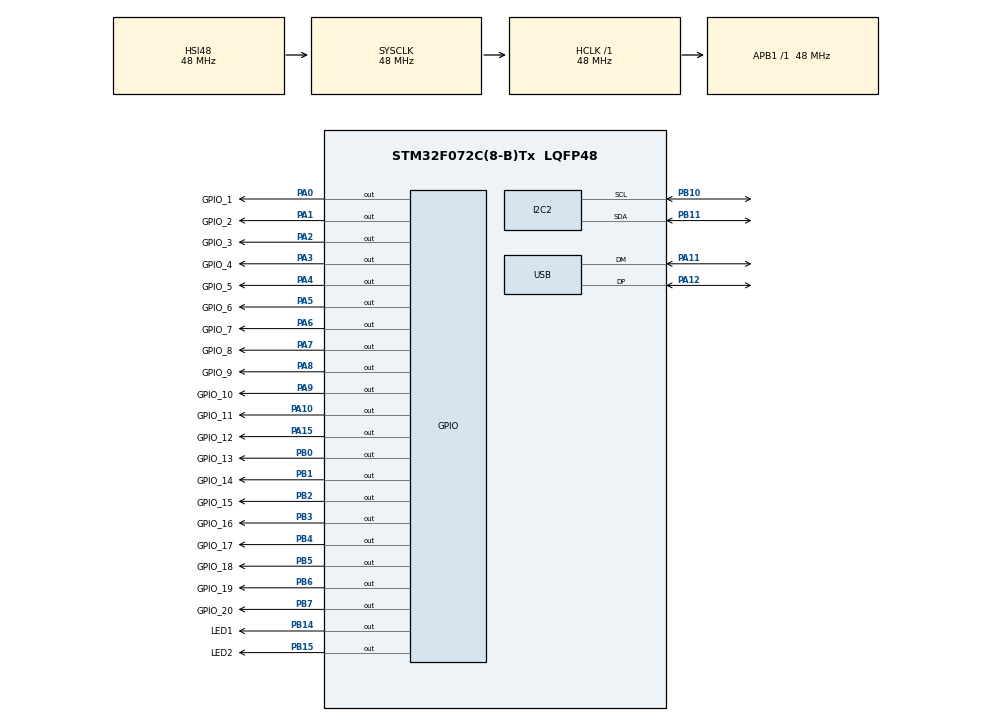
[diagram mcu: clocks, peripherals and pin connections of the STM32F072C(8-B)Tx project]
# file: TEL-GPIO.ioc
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Mcu.Family=STM32F0
PA2.GPIO_PuPd=GPIO_NOPULL
USB_DEVICE.CLASS_NAME_FS=CDC
NVIC.USB_IRQn=true\:0\:0\:false\:false\:true\:false\:true
PB10.Mode=I2C
PB14.GPIO_Label=LED1
PA3.GPIO_PuPd=GPIO_NOPULL
I2C2.Timing=0x20303E5D
PA0.PinState=GPIO_PIN_RESET
PA0.GPIO_Label=GPIO_1
PA2.GPIO_Speed=GPIO_SPEED_FREQ_HIGH
PA11.Mode=Device
PA6.GPIO_Label=GPIO_7
PB0.GPIO_Label=GPIO_13
PB6.GPIO_Label=GPIO_19
PA3.GPIO_Speed=GPIO_SPEED_FREQ_HIGH
PB11.Signal=I2C2_SDA
PB15.Signal=GPIO_Output
RCC.SYSCLKSource=RCC_SYSCLKSOURCE_HSI48
ProjectManager.StackSize=0x400
USB_DEVICE.MANUFACTURER_STRING=COMPULAB LTD
PA15.GPIO_Label=GPIO_12
PA12.Signal=USB_DP
USB_DEVICE.USBD_MAX_NUM_INTERFACES=2
RCC.HCLKFreq_Value=48000000
PB6.Signal=GPIO_Output
PA1.GPIO_PuPd=GPIO_NOPULL
RCC.AHBFreq_Value=48000000
RCC.HSE_VALUE=16000000
PB2.Signal=GPIO_Output
PA2.PinState=GPIO_PIN_RESET
PB1.GPIO_Label=GPIO_14
PA10.GPIO_Label=GPIO_11
PB7.Signal=GPIO_Output
PA8.Signal=GPIO_Output
PA0.Signal=GPIO_Output
PB7.GPIO_Label=GPIO_20
Mcu.Package=LQFP48
PB14.GPIO_PuPd=GPIO_PULLDOWN
PB1.Signal=GPIO_Output
PA6.Signal=GPIO_Output
PB15.GPIO_PuPd=GPIO_PULLDOWN
PB6.GPIO_FM6=__NULL
PA2.GPIO_Label=GPIO_3
PA10.Signal=GPIO_Output
PA15.Signal=GPIO_Output
PA1.PinState=GPIO_PIN_RESET
PB5.GPIO_Label=GPIO_18
RCC.APB1TimFreq_Value=48000000
PA4.GPIO_Label=GPIO_5
PB4.Signal=GPIO_Output
PA3.Signal=GPIO_Output
PB3.GPIO_Label=GPIO_16
RCC.PLLSourceVirtual=RCC_PLLSOURCE_HSI48
USB_DEVICE.VirtualModeFS=Cdc_FS
PA9.GPIO_Label=GPIO_10
PA8.GPIO_Label=GPIO_9
PB11.Mode=I2C
ProjectManager.TargetToolchain=STM32CubeIDE
USB_DEVICE.PRODUCT_STRING_CDC_FS=TEL-GPIO
VP_USB_DEVICE_VS_USB_DEVICE_CDC_FS.Mode=CDC_FS
PA9.Signal=GPIO_Output
RCC.PLLDivider=RCC_PREDIV_DIV2
PA1.Signal=GPIO_Output
PB10.Signal=I2C2_SCL
PB14.Signal=GPIO_Output
PA5.Signal=GPIO_Output
board=custom
PB4.GPIO_Label=GPIO_17
PB15.GPIO_Label=LED2
PA1.GPIO_Speed=GPIO_SPEED_FREQ_HIGH
PA1.GPIO_Label=GPIO_2
Mcu.Name=STM32F072C(8-B)Tx
PA2.Signal=GPIO_Output
PB3.Signal=GPIO_Output
PA4.Signal=GPIO_Output
RCC.SYSCLKFreq_VALUE=48000000
PB5.Signal=GPIO_Output
PA7.GPIO_Label=GPIO_8
PA12.Mode=Device
PA5.GPIO_Label=GPIO_6
PA11.Signal=USB_DM
PB2.GPIO_Label=GPIO_15
ProjectManager.HeapSize=0x200
PA3.PinState=GPIO_PIN_RESET
RCC.APB1Freq_Value=48000000
PB0.Signal=GPIO_Output
USB_DEVICE.VirtualMode=Cdc
PA3.GPIO_Label=GPIO_4
PA7.Signal=GPIO_Output

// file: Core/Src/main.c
/* USER CODE BEGIN Header */
/**
 ******************************************************************************
 * @file           : main.c
 * @brief          : Main program body
 ******************************************************************************
 * @attention
 *
 * <h2><center>&copy; Copyright (c) 2020 STMicroelectronics.
 * All rights reserved.</center></h2>
 *
 * This software component is licensed by ST under BSD 3-Clause license,
 * the "License"; You may not use this file except in compliance with the
 * License. You may obtain a copy of the License at:
 *                        opensource.org/licenses/BSD-3-Clause
 *
 ******************************************************************************
 */
/* USER CODE END Header */
#include "main.h"
#include "i2c.h"
#include "usb_device.h"
#include "gpio.h"
#include "string.h"
#include "stdio.h"
#include <ctype.h>							// For toupper function
#include "ringbuffer.h"
#include "parser.h"

/* USER CODE BEGIN PD */

// HW & SW Revisions
char HW_REV[] = "HW: V1.0.0\t";
char SW_REV[] = "SW: V1.0.0\t";

char InitialHeader[] = "\t###### TEL-GPIO #######\n";

int GPIO_DIR[MAX_GPIO];

// Store the Global GPIO state of each GPIO in the format:
// 	0 - Input
//	1 - Output
//  3 - Not Connected
int GPIO_STATE[MAX_GPIO];

int GPIO_CONNECTED[MAX_GPIO];

void updateGlobalDir(int);
void setGPIO_state();
void printGlobalState();
void updateGIPO_state(int,int);
//uint8_t get_gpio_level(uint8_t*);
//int getGPIO_state(uint8_t);

int testGPIO(int);

int getGPIO(uint8_t*);
uint8_t get_gpio_level_number(uint8_t);

uint8_t change_gpio_level_number(uint8_t, uint8_t);

#define DEBUGLED

// Write to console function
// will search for new line string and calculate the print size.
void write( char *ptr)
{
	int len = 0;		// Create int for length
	char *pterc = ptr;	// copy pointer so can be counted safely

	// Count the array until reached new line (RETURN)
	for (len = 1 ; *pterc != '\n' ; len++ ) {
		pterc++;
	}

	HAL_Delay(10);
	// Transmit the text
	CDC_Transmit_FS( ptr, len);

}

int io_putchar(int ch)
{
	HAL_Delay(1); // Resolves problems with print
	CDC_Transmit_FS( (uint8_t *)&ch, 1);

	return ch;
}

/* USER CODE END PD */

void SystemClock_Config(void);

int main(void)
{

	/* USER CODE BEGIN 1 */
	// Enable echo to USB serial console
	ECHO_ENABLE = 1;
	// Disable print on GPIO change value state
	gpio_change = 0;
	// initialize the global GPIO state

	setGPIO_state();
	/* USER CODE END 1 */

	SystemInit();
	RingBuffer_Init(&InputBuf);

	/* MCU Configuration--------------------------------------------------------*/

	/* Reset of all peripherals, Initializes the Flash interface and the Systick. */
	HAL_Init();

	/* USER CODE BEGIN Init */
	return_Command = 0;										// Set return command to 0
	memset(gpio_previus_level,0,sizeof(gpio_previus_level));// Initialize gpio previous state array

	/* USER CODE END Init */
	/* Configure the system clock */
	SystemClock_Config();
	/* Initialize all configured peripherals */
	MX_GPIO_Init();
	MX_I2C2_Init();
	MX_USB_DEVICE_Init();
	/* USER CODE BEGIN 2 */
	HAL_Delay(500);								// General delay for pin init
	int funcReturn = 0;

	//	EXTI0_1_IRQHandler_Config();   // TODO fix ISR for GPIO

	detectConnected();

	// Initial screen print
	write(InitialHeader);
	CDC_Transmit_FS(HW_REV, sizeof(HW_REV));
	HAL_Delay(10);
	CDC_Transmit_FS(SW_REV, sizeof(SW_REV));
	HAL_Delay(10);
	char newLine[] = "\n";
	CDC_Transmit_FS(newLine, sizeof(newLine));				// Transmit new line

	// TODO Add EEPROM read function to read GPIO old GPIO values
	// TODO Set Initial GPIO Value (From EEPROM or default?)
	// TODO add array with error codes that will check user input and issue correct error,
	// TODO add some memory location to store all device constants
	// TODO Add Terminal dynamic title change based on GPIO input??
	/* USER CODE END 2 */

	/* Infinite loop */
	/* USER CODE BEGIN WHILE */
	while (1)
	{
		// if enable GPIO change option
		if (gpio_change) {
			detect_gpio_change();
		}

		unsigned char c;
		int cmd;
		for(int i=0; 10 > i; ++i) { // for instead while to prevent deadloop (just in case)
			if (RingBuffer_Read(&InputBuf, &c, 1)){
				cmd = parser_get(c);
				if (cmd)
					break;
			}
			else
				break;
		}

		if(0 >= cmd)
			continue;

		switch (cmd >> 8) // Extract command value
		{
		case COMMAND_PRINT_HELP:					// Help Screen
			printHelp();
			break;
		case COMMAND_SET_HIGH:						// Set High
		case COMMAND_SET_LOW:						// Set Low
		case COMMAND_SET_OUTPUT:					// Set OUTPUT
		case COMMAND_SET_INPUT:						// Set INPUT
			funcReturn = set_gpio(cmd & 0xff, cmd >>8);
			if (funcReturn)
				print_error(funcReturn);
			break;
		case COMMAND_ENABLE_ECHO:					// Enable Echo
			toggleEcho(1);
			break;
		case COMMAND_DISABLE_ECHO:					// Disable echo
			toggleEcho(0);
			break;
		case COMMAND_GET_LEVEL:						// Get Level
		case COMMAND_GET_STATE:						// Get State
			funcReturn = get_gpio(cmd & 0xff, cmd >>8);
			if ((funcReturn == NOT_CONNECTED) | (funcReturn == ERROR_03) ) {
				print_error(funcReturn);
			}
			break;
		case COMMAND_ENABLE_CHANGE:						// Enable print on GPIO level change
			//				write("Enable Print Change\n");
			set_gpio_change(COMMAND_ENABLE_CHANGE);
			//
			break;
		case COMMAND_DISABLE_CHANGE:					// Disable print on GPIO level change
			//				write("Disable Print Change\n");
			set_gpio_change(COMMAND_DISABLE_CHANGE);
			break;
		case COMMAND_ENTER_BOOTLOADER:					// Enter bootoalder command
			dfu_run_bootloader();
//				enter_boot();
			write("Enter boot loader, welcome to the dark side\n");
			break;
		default:									// no command / wrong command
			write("Wrong command entered\n");
			break;
		}
		cmd = 0;

		funcReturn = 0;
	}	// Close main while loop
}	// Close main()

void SystemClock_Config(void)
{
	RCC_OscInitTypeDef RCC_OscInitStruct = {0};
	RCC_ClkInitTypeDef RCC_ClkInitStruct = {0};
	RCC_PeriphCLKInitTypeDef PeriphClkInit = {0};

	/** Initializes the RCC Oscillators according to the specified parameters
	 * in the RCC_OscInitTypeDef structure.
	 */
	RCC_OscInitStruct.OscillatorType = RCC_OSCILLATORTYPE_HSI48;
	RCC_OscInitStruct.HSI48State = RCC_HSI48_ON;
	RCC_OscInitStruct.PLL.PLLState = RCC_PLL_NONE;
	if (HAL_RCC_OscConfig(&RCC_OscInitStruct) != HAL_OK)
	{
		Error_Handler();
	}
	/** Initializes the CPU, AHB and APB buses clocks
	 */
	RCC_ClkInitStruct.ClockType = RCC_CLOCKTYPE_HCLK|RCC_CLOCKTYPE_SYSCLK
			|RCC_CLOCKTYPE_PCLK1;
	RCC_ClkInitStruct.SYSCLKSource = RCC_SYSCLKSOURCE_HSI48;
	RCC_ClkInitStruct.AHBCLKDivider = RCC_SYSCLK_DIV1;
	RCC_ClkInitStruct.APB1CLKDivider = RCC_HCLK_DIV1;

	if (HAL_RCC_ClockConfig(&RCC_ClkInitStruct, FLASH_LATENCY_1) != HAL_OK)
	{
		Error_Handler();
	}
	PeriphClkInit.PeriphClockSelection = RCC_PERIPHCLK_USB;
	PeriphClkInit.UsbClockSelection = RCC_USBCLKSOURCE_HSI48;

	if (HAL_RCCEx_PeriphCLKConfig(&PeriphClkInit) != HAL_OK)
	{
		Error_Handler();
	}
}

void Error_Handler(void)
{
	/* USER CODE BEGIN Error_Handler_Debug */
	/* User can add his own implementation to report the HAL error return state */
#ifdef DEBUGLED
	HAL_GPIO_WritePin(LED1_GPIO_Port, LED1_Pin, 1); // RED LED in case of error, only in debug mode
	HAL_GPIO_WritePin(LED2_GPIO_Port, LED2_Pin, 1);
	char fail[] = "\a\n\r##### FAILURE ######\n\r";
	CDC_Transmit_FS(fail,sizeof(fail));
#endif
	/* USER CODE END Error_Handler_Debug */
}

/**
 * @brief  Print to USB serial Help informarion
 * @param  None
 * @retval None
 */
void printHelp() {
	char printout[] = "\n\n################ HELP #############################\n";
	CDC_Transmit_FS(InitialHeader, sizeof(InitialHeader));
	HAL_Delay(10);
	CDC_Transmit_FS(HW_REV, sizeof(HW_REV));
	HAL_Delay(10);
	CDC_Transmit_FS(SW_REV,sizeof(SW_REV));
	HAL_Delay(10);
	CDC_Transmit_FS(printout,sizeof(printout));
	write("& - Set GPIO As Output Pin: \t\tEXAMPLE: &12 - Set GPIO # 12 To Output \n");
	write("% - Set GPIO As Input Pin:  \t\tEXANPLE: %10 - Will Set GPIO # 10 to Input\n ");
	write("^ - Set GPIO LEVEL HIGH '^##'\t\tEXAMPLE: '^3' - Will Set GPIO # 3 To High Level\n");
	write("_ - Set GPIO LEVEL LOW  '_##'\t\tEXAMPLE: '_06' - Will set GPIO # 6 To Low Level\n");
	write("@ - Get GPIO level Value \t\tEXANPLE: @10 - Will return GPIO #10 High or Low\n ");
	write("? - get GPIO state '?4\t\t\tEXAMPLE: '?3' - Will return 1- initially.\n");
	write("\t\t\t\t\tNot connected return X and out of bonds return *\n");
	write("NOTE: GPIO can be entered as 03 or 3 for the same GPIO number\n");
	write("################ SETTINGS ##########################\n");
	write("\n");
	write("-D - Disable USB serial Echo Output\n");
	write("-E - Enables USB serial Echo Output\n");
	write("-G - Enable output to console on GPIO level change\n");
	write("-R - Disable output to console on GPIO level change\n");
	write("-B - Enter to boot-loader for firmware update\n");
	write("\n");
	write("################ ERROR CODES ########################\n");
	write("E02 - Invalid input\n");
	write("E03 - Out of Bounds GPIO Number\n");
	write("E07 - Changing GPIO LEVEL when the GPIO in INPUT\n");
	write("E08 - GPIO not connected\n");
	write("\n");
	write("################ GLOBAL INFO ########################\n");

	write("\n");
	updateGlobalDir(1);
	printGlobalState();
	printConnected();
	write("-----------------------------------------------------------------------\n");
}

/**
 * @brief  	Set GPIO as per command received, handles all the set gpio commands
 * 			Only GPIO range numbering is tested.
 *
 * @param  	Pointer to Incoming buffer
 * @param   int Incoming command value
 * @retval 	Return code of the operation
 */
int set_gpio(int gpio_number,int command) {
	int testGPIO_return = 0;
	int test_conn_ret = 0;						// Test connected return value

	testGPIO_return = testGPIO(gpio_number);
	test_conn_ret   = get_connected(gpio_number);

	// Pass GPIO range check and GPIO connected check
	if (testGPIO_return != 0 ) {
		return testGPIO_return;
	}

	else if (test_conn_ret != CONNECTED ) {
		return test_conn_ret;
	}
	switch (command)
	{
	case (COMMAND_SET_HIGH):{		// Check if GPIO in Output state if not return ERROR_07
		if (get_gpio_state(gpio_number) != OUT ) {
			return ERROR_07;
			break;
		}
		set_gpio_level(gpio_number,GPIO_HIGH);
		break;
	}
	case (COMMAND_SET_LOW):{		// Check if GPIO in Output state if not return ERROR_07
		if (get_gpio_state(gpio_number) != OUT ) {
			return ERROR_07;
			break;
		}
		set_gpio_level(gpio_number,GPIO_LOW);
		break;
	}
	case (COMMAND_SET_OUTPUT):{
		set_gpio_state(gpio_number,GPIO_OUTPUT);
		break;
	}
	case (COMMAND_SET_INPUT):{
		set_gpio_state(gpio_number,GPIO_INPUT);
		break;
	}
	}
	return 0;

} // Close function set GPIO

/**
 * @brief  	Get GPIO state or level as per command received handles all the get GPIO commands
 * 			from main switch case
 *
 * @param   int Incoming command value
 * @retval 	Return code of the operation- GPIO desired information.
 */
int get_gpio(int gpio_number , int command) {
	int gpio_state = 0;
	int test_gpio_ret = 0;				// Test GPIO return code
	int test_conn_ret = 0;
	char write_output[4] = "";
	char getstate_string[10] = "";

	test_gpio_ret = testGPIO(gpio_number);
	test_conn_ret = get_connected(gpio_number);

	if (test_gpio_ret != 0 ) {
		return test_gpio_ret;
	}

	else if (test_conn_ret == NOT_CONNECTED) {
		return NOT_CONNECTED;
	}

	switch (command)
	{
	case (COMMAND_GET_LEVEL):{
		gpio_state  = get_gpio_level(gpio_number);
		strcat(write_output, " level: ");
		itoa (gpio_state,getstate_string,10); // Convert from int to char
		break;
	}
	case (COMMAND_GET_STATE):{
		gpio_state =  get_gpio_state(gpio_number);
		itoa (gpio_state,getstate_string,10); // Convert from int to char
		break;
	}
	default:
		return ERROR_06;
		break;

	}
	strcat(getstate_string,"\n");
	write(getstate_string);

	return gpio_state;
}	// Close If Check for GPIO limit

/**
 * @brief Set GPIO state( output / input)
 *
 *
 * @param  	int GPIO number in Integer
 * @param	int GPIO level in integer 1 -Output 0 - Input
 * @retval Return the changed to OUTPUT GPIO, will return 0 on ERROR. TODO add ERROR code
 */
int set_gpio_state(int gpioNumber, int state) {

	// Validate GPIO range
	if (testGPIO(gpioNumber) == 0) {

		GPIO_InitTypeDef GPIO_InitStruct = {0};

		// Update GPIO state to the GPIO state array
		switch (state) {
		case 0:    										// Input
			GPIO_InitStruct.Mode = GPIO_MODE_INPUT;
			GPIO_InitStruct.Pull = GPIO_NOPULL;
			//			GPIO_InitStruct.Pull = GPIO_PULLDOWN;
			//			write("State INPUT\n");
			updateGIPO_state(gpioNumber,0);				// Update global array for GPIO state

			break;
		case 1: 										// Output
			GPIO_InitStruct.Mode = GPIO_MODE_OUTPUT_PP;
			GPIO_InitStruct.Pull = GPIO_PULLUP;
			updateGIPO_state(gpioNumber,1);				// Update global array for GPIO state
			break;
		default:
			write("State wrong\n");
			return 0;
		}

		GPIO_InitStruct.Speed = GPIO_SPEED_FREQ_LOW;

		switch (gpioNumber)
		{
		case 1:
			GPIO_InitStruct.Pin = GPIO_1_Pin;
			HAL_GPIO_Init(GPIO_1_GPIO_Port, &GPIO_InitStruct);
			break;
		case 2:
			GPIO_InitStruct.Pin = GPIO_2_Pin;
			HAL_GPIO_Init(GPIO_2_GPIO_Port,  &GPIO_InitStruct);
			break;
		case 3:
			GPIO_InitStruct.Pin = GPIO_3_Pin;
			HAL_GPIO_Init(GPIO_3_GPIO_Port,  &GPIO_InitStruct);
			break;
		case 4:
			GPIO_InitStruct.Pin = GPIO_4_Pin;
			HAL_GPIO_Init(GPIO_4_GPIO_Port,  &GPIO_InitStruct);
			break;
		case 5:
			GPIO_InitStruct.Pin = GPIO_5_Pin;
			HAL_GPIO_Init(GPIO_5_GPIO_Port,  &GPIO_InitStruct);
			break;
		case 6:
			GPIO_InitStruct.Pin = GPIO_6_Pin;
			HAL_GPIO_Init(GPIO_6_GPIO_Port,  &GPIO_InitStruct);
			break;
		case 7:
			GPIO_InitStruct.Pin = GPIO_7_Pin;
			HAL_GPIO_Init(GPIO_7_GPIO_Port,  &GPIO_InitStruct);
			break;
		case 8:
			GPIO_InitStruct.Pin = GPIO_8_Pin;
			HAL_GPIO_Init(GPIO_8_GPIO_Port,  &GPIO_InitStruct);
			break;
		case 9:
			GPIO_InitStruct.Pin = GPIO_9_Pin;
			HAL_GPIO_Init(GPIO_9_GPIO_Port,  &GPIO_InitStruct);
			break;
		case 10:
			GPIO_InitStruct.Pin = GPIO_10_Pin;
			HAL_GPIO_Init(GPIO_10_GPIO_Port,  &GPIO_InitStruct);
			break;
		case 11:
			GPIO_InitStruct.Pin = GPIO_11_Pin;
			HAL_GPIO_Init(GPIO_11_GPIO_Port,  &GPIO_InitStruct);
			break;
		case 12:
			GPIO_InitStruct.Pin = GPIO_12_Pin;
			HAL_GPIO_Init(GPIO_12_GPIO_Port,  &GPIO_InitStruct);
			break;
		case 13:
			GPIO_InitStruct.Pin = GPIO_13_Pin;
			HAL_GPIO_Init(GPIO_13_GPIO_Port,  &GPIO_InitStruct);
			break;
		case 14:
			GPIO_InitStruct.Pin = GPIO_14_Pin;
			HAL_GPIO_Init(GPIO_14_GPIO_Port,  &GPIO_InitStruct);
			break;
		case 15:
			GPIO_InitStruct.Pin = GPIO_15_Pin;
			HAL_GPIO_Init(GPIO_15_GPIO_Port,  &GPIO_InitStruct);
			break;
		case 16:
			GPIO_InitStruct.Pin = GPIO_16_Pin;
			HAL_GPIO_Init(GPIO_16_GPIO_Port,  &GPIO_InitStruct);
			break;
		case 17:
			GPIO_InitStruct.Pin = GPIO_17_Pin;
			HAL_GPIO_Init(GPIO_17_GPIO_Port,  &GPIO_InitStruct);
			break;
		case 18:
			GPIO_InitStruct.Pin = GPIO_18_Pin;
			HAL_GPIO_Init(GPIO_18_GPIO_Port,  &GPIO_InitStruct);
			break;
		case 19:
			GPIO_InitStruct.Pin = GPIO_19_Pin;
			HAL_GPIO_Init(GPIO_19_GPIO_Port,  &GPIO_InitStruct);
			break;
		case 20:
			GPIO_InitStruct.Pin = GPIO_20_Pin;
			HAL_GPIO_Init(GPIO_20_GPIO_Port,  &GPIO_InitStruct);
			break;
		}
	}
	else {
		write("Set GPIO Input Number wrong\n ");
	}
	return gpioNumber;
}

/**
 * @brief Set GPIO to the received level state
 *
 *
 *
 * @param  	GPIO number in Integer
 * @param	GPIO level in integer 1 for High 0 for Low
 * @retval Return the changed to OUTPUT GPIO, will return 0 on ERROR.
 */
int set_gpio_level(int gpioNum, int level) {

	if ((level == 0) | (level==1) ) {

		switch (gpioNum)
		{
		case 1:
			HAL_GPIO_WritePin(GPIO_1_GPIO_Port, GPIO_1_Pin, level);
			break;
		case 2:
			HAL_GPIO_WritePin(GPIO_2_GPIO_Port, GPIO_2_Pin, level);
			break;
		case 3:
			HAL_GPIO_WritePin(GPIO_3_GPIO_Port, GPIO_3_Pin, level);
			break;
		case 4:
			HAL_GPIO_WritePin(GPIO_4_GPIO_Port, GPIO_4_Pin, level);
			break;
		case 5:
			HAL_GPIO_WritePin(GPIO_5_GPIO_Port, GPIO_5_Pin, level);
			break;
		case 6:
			HAL_GPIO_WritePin(GPIO_6_GPIO_Port, GPIO_6_Pin, level);
			break;
		case 7:
			HAL_GPIO_WritePin(GPIO_7_GPIO_Port, GPIO_7_Pin, level);
			break;
		case 8:
			HAL_GPIO_WritePin(GPIO_8_GPIO_Port, GPIO_8_Pin, level);
			break;
		case 9:
			HAL_GPIO_WritePin(GPIO_9_GPIO_Port, GPIO_9_Pin, level);
			break;
		case 10:
			HAL_GPIO_WritePin(GPIO_10_GPIO_Port, GPIO_10_Pin, level);
			break;
		case 11:
			HAL_GPIO_WritePin(GPIO_11_GPIO_Port, GPIO_11_Pin, level);
			break;
		case 12:
			HAL_GPIO_WritePin(GPIO_12_GPIO_Port, GPIO_12_Pin, level);
			break;
		case 13:
			HAL_GPIO_WritePin(GPIO_13_GPIO_Port, GPIO_13_Pin, level);
			break;
		case 14:
			HAL_GPIO_WritePin(GPIO_14_GPIO_Port, GPIO_14_Pin, level);
			break;
		case 15:
			HAL_GPIO_WritePin(GPIO_15_GPIO_Port, GPIO_15_Pin, level);
			break;
		case 16:
			HAL_GPIO_WritePin(GPIO_16_GPIO_Port, GPIO_16_Pin, level);
			break;
		case 17:
			HAL_GPIO_WritePin(GPIO_17_GPIO_Port, GPIO_17_Pin, level);
			break;
		case 18:
			HAL_GPIO_WritePin(GPIO_18_GPIO_Port, GPIO_18_Pin, level);
			break;
		case 19:
			HAL_GPIO_WritePin(GPIO_19_GPIO_Port, GPIO_19_Pin, level);
			break;
		case 20:
			HAL_GPIO_WritePin(GPIO_20_GPIO_Port, GPIO_20_Pin, level);
			break;
		default:
		{
			// Will print this error only if debug enabled.
#ifdef DEBUG
			write("GPIO number Out of bounds\n");
#endif //end if debug led
			return 0;
		}
		} // end switch statement
	} // Close if check for level number
	else {
		// Will print this error only if debug enabled.
#ifdef DEBUG
		write("level out of bounds error\n");
#endif //end if debug led
		return 0;
	}
	return gpioNum;
}

// Perform test on the received GPIO, for now only the max and min GPIO number
/**
 * @brief  Receive and test GPIO number
 *
 *
 *        @note
 *        This function test's GPIO number, for now (09/20) only maximum
 *        and minimum number range, later maybe some conditional test will be needed.
 *        return 0 on OK and 1 on error
 *
 * @param  GPIO number to be tested
 * @retval Test result 0 on OK evrething else error.
 */
int testGPIO(int GPIO_NUM) {

	// Check if GPIO is in correct range
	if ((GPIO_NUM > 0) & (GPIO_NUM <= MAX_GPIO)) {
		//		if (GPIO_CONNECTED[GPIO_NUM-1] == 1) {
		//			return 0;
		//		}
		//		else {
		//			return ERROR_08; // Not connected
		//		}
		return 0;

	}
	else
		return ERROR_03;	// Out of bounds
}

/**
 * @brief Retunrn connected to conected state of the passsed GPIO number
 *
 * @param  GPIO number to be tested
 * @retval Return 1 for Conneced and 0 not connected.
 */
int get_connected(int gpio_num) {

	if (GPIO_CONNECTED[gpio_num-1] == NOT_CONNECTED_STATE) {
		return NOT_CONNECTED;
	}
	else {
		return CONNECTED;

	}

	//	return CONNECTED;
}

/**
 * @brief Get the GPIO level
 *
 *
 * @param  	Integer GPIO number
 * @retval 	Return GPIO level state 0 - for low 1 - for High 3 - for ERROR
 */
int get_gpio_level(int gpioNumber) {

	int state;

	switch (gpioNumber)
	{
	case 1:
		state = HAL_GPIO_ReadPin(GPIO_1_GPIO_Port, GPIO_1_Pin);
		break;
	case 2:
		state = HAL_GPIO_ReadPin(GPIO_2_GPIO_Port, GPIO_2_Pin);
		break;
	case 3:
		state = HAL_GPIO_ReadPin(GPIO_3_GPIO_Port, GPIO_3_Pin);
		break;
	case 4:
		state = HAL_GPIO_ReadPin(GPIO_4_GPIO_Port, GPIO_4_Pin);
		break;
	case 5:
		state = HAL_GPIO_ReadPin(GPIO_5_GPIO_Port, GPIO_5_Pin);
		break;
	case 6:
		state = HAL_GPIO_ReadPin(GPIO_6_GPIO_Port, GPIO_6_Pin);
		break;
	case 7:
		state = HAL_GPIO_ReadPin(GPIO_7_GPIO_Port, GPIO_7_Pin);
		break;
	case 8:
		state = HAL_GPIO_ReadPin(GPIO_8_GPIO_Port, GPIO_8_Pin);
		break;
	case 9:
		state = HAL_GPIO_ReadPin(GPIO_9_GPIO_Port, GPIO_9_Pin);
		break;
	case 10:
		state = HAL_GPIO_ReadPin(GPIO_10_GPIO_Port, GPIO_10_Pin);
		break;
	case 11:
		state = HAL_GPIO_ReadPin(GPIO_11_GPIO_Port, GPIO_11_Pin);
		break;
	case 12:
		state = HAL_GPIO_ReadPin(GPIO_12_GPIO_Port, GPIO_12_Pin);
		break;
	case 13:
		state = HAL_GPIO_ReadPin(GPIO_13_GPIO_Port, GPIO_13_Pin);
		break;
	case 14:
		state = HAL_GPIO_ReadPin(GPIO_14_GPIO_Port, GPIO_14_Pin);
		break;
	case 15:
		state = HAL_GPIO_ReadPin(GPIO_15_GPIO_Port, GPIO_15_Pin);
		break;
	case 16:
		state = HAL_GPIO_ReadPin(GPIO_16_GPIO_Port, GPIO_16_Pin);
		break;
	case 17:
		state = HAL_GPIO_ReadPin(GPIO_17_GPIO_Port, GPIO_17_Pin);
		break;
	case 18:
		state = HAL_GPIO_ReadPin(GPIO_18_GPIO_Port, GPIO_18_Pin);
		break;
	case 19:
		state = HAL_GPIO_ReadPin(GPIO_19_GPIO_Port, GPIO_19_Pin);
		break;
	case 20:
		state = HAL_GPIO_ReadPin(GPIO_20_GPIO_Port, GPIO_20_Pin);
		break;
	default:
		return ERROR_03; // Error state
	} // end switch statement
	return state;
}

// Return the passed GPIO number state (INPUT / OUTPUT)
// 0 - Input
// 1 - Output
// 2 - Not connected
// 3 - ERROR
int get_gpio_state(int gpio) {
	int GPIO_state = 0;

	if (testGPIO(gpio) == 0) {
		GPIO_state = GPIO_STATE[gpio-1];
	}

	else
		GPIO_state = ERROR_03;		// Error return code

	return GPIO_state;
}

/**
 * @brief  Invoked after parsing incoming data buffer for set GPIO to OUTPUT command
 *
 *
 *        @note
 *        This function should return GPIO number that is changed to OUTPUT state
 *        and return 0 if something went wrong:
 *        - Wrong GPIO number (above or below limit)
 *        - Wrong string format (char instead of GPIO number after command)
 *        Correct or incorrect GPIO tested by testGPIO function.
 *
 * @param  set_gpio_out: Pointer to parsed command char
 * @retval Return the changed to OUTPUT GPIO, will return 0 on ERROR.
 */
int set_gpio_output(int set_gpio_out, int parameter) {

	int gpio_number;

	gpio_number = return_gpio(set_gpio_out+1);		// Get GPIO number

	if (testGPIO(gpio_number) == 0) {			// Test if GPIO is in range
		return change_gpio_level_number(gpio_number,1);
	}
	else
		return 0;								// Failed test in range return Error
}

/**
 * @brief  Change GPIO to Input state
 *
 *
 *        @note
 *        Set GPIO input with optional additional parameters of the Input:
 *        IN_PU	- Input with pull up	resistor
 *        IN_PD	- Input with pull down	resistor
 *		  IN_Z	- Input without any resistor
 *
 * @param  set_gpio_out: Pointer to parsed command char
 * @retval Return the changed to INPUT GPIO, will return 0 on ERROR.
 */
int set_gpio_input(int set_gpio_in, int parameter) {

	int returnCode = 0;
	if (testGPIO(set_gpio_in) != 0) {			// Test if GPIO is in range and break here if so
		returnCode = ERROR_03;
		return returnCode;
	}

	// Init GPIO struct
	GPIO_InitTypeDef GPIO_InitStruct = {0};
	GPIO_InitStruct.Mode = GPIO_MODE_INPUT;
	GPIO_InitStruct.Speed = GPIO_SPEED_FREQ_LOW;

	switch (parameter)
	{
	case IN_PU: {
		GPIO_InitStruct.Pull = GPIO_PULLUP;

		break;
	}
	case IN_PD: {
		GPIO_InitStruct.Pull = GPIO_PULLDOWN;

		break;
	}
	case IN_Z: {
		GPIO_InitStruct.Pull = GPIO_NOPULL;

	}
	default:
		returnCode = ERROR_05;
		return returnCode;
	}

	switch (set_gpio_in)
	{
	case 1:
		GPIO_InitStruct.Pin = GPIO_1_Pin;
		HAL_GPIO_Init(GPIO_1_GPIO_Port, &GPIO_InitStruct);
		break;
	case 2:
		GPIO_InitStruct.Pin = GPIO_2_Pin;
		HAL_GPIO_Init(GPIO_2_GPIO_Port,  &GPIO_InitStruct);
		break;
	case 3:
		GPIO_InitStruct.Pin = GPIO_3_Pin;
		HAL_GPIO_Init(GPIO_3_GPIO_Port,  &GPIO_InitStruct);
		break;
	case 4:
		GPIO_InitStruct.Pin = GPIO_4_Pin;
		HAL_GPIO_Init(GPIO_4_GPIO_Port,  &GPIO_InitStruct);
		break;
	case 5:
		GPIO_InitStruct.Pin = GPIO_5_Pin;
		HAL_GPIO_Init(GPIO_5_GPIO_Port,  &GPIO_InitStruct);
		break;
	case 6:
		GPIO_InitStruct.Pin = GPIO_6_Pin;
		HAL_GPIO_Init(GPIO_6_GPIO_Port,  &GPIO_InitStruct);
		break;
	case 7:
		GPIO_InitStruct.Pin = GPIO_7_Pin;
		HAL_GPIO_Init(GPIO_7_GPIO_Port,  &GPIO_InitStruct);
		break;
	case 8:
		GPIO_InitStruct.Pin = GPIO_8_Pin;
		HAL_GPIO_Init(GPIO_8_GPIO_Port,  &GPIO_InitStruct);
		break;
	case 9:
		GPIO_InitStruct.Pin = GPIO_9_Pin;
		HAL_GPIO_Init(GPIO_9_GPIO_Port,  &GPIO_InitStruct);
		break;
	case 10:
		GPIO_InitStruct.Pin = GPIO_10_Pin;
		HAL_GPIO_Init(GPIO_10_GPIO_Port,  &GPIO_InitStruct);
		break;
	case 11:
		GPIO_InitStruct.Pin = GPIO_11_Pin;
		HAL_GPIO_Init(GPIO_11_GPIO_Port,  &GPIO_InitStruct);
		break;
	case 12:
		GPIO_InitStruct.Pin = GPIO_12_Pin;
		HAL_GPIO_Init(GPIO_12_GPIO_Port,  &GPIO_InitStruct);
		break;
	case 13:
		GPIO_InitStruct.Pin = GPIO_13_Pin;
		HAL_GPIO_Init(GPIO_13_GPIO_Port,  &GPIO_InitStruct);
		break;
	case 14:
		GPIO_InitStruct.Pin = GPIO_14_Pin;
		HAL_GPIO_Init(GPIO_14_GPIO_Port,  &GPIO_InitStruct);
		break;
	case 15:
		GPIO_InitStruct.Pin = GPIO_15_Pin;
		HAL_GPIO_Init(GPIO_15_GPIO_Port,  &GPIO_InitStruct);
		break;
	case 16:
		GPIO_InitStruct.Pin = GPIO_16_Pin;
		HAL_GPIO_Init(GPIO_16_GPIO_Port,  &GPIO_InitStruct);
		break;
	case 17:
		GPIO_InitStruct.Pin = GPIO_17_Pin;
		HAL_GPIO_Init(GPIO_17_GPIO_Port,  &GPIO_InitStruct);
		break;
	case 18:
		GPIO_InitStruct.Pin = GPIO_18_Pin;
		HAL_GPIO_Init(GPIO_18_GPIO_Port,  &GPIO_InitStruct);
		break;
	case 19:
		GPIO_InitStruct.Pin = GPIO_19_Pin;
		HAL_GPIO_Init(GPIO_19_GPIO_Port,  &GPIO_InitStruct);
		break;
	case 20:
		GPIO_InitStruct.Pin = GPIO_20_Pin;
		HAL_GPIO_Init(GPIO_20_GPIO_Port,  &GPIO_InitStruct);
		break;
	}

	return returnCode;
}

void updateGlobalDir(int printValue) {

	char GPIO_INPUT_PRINT[60] = "GPIO Input Read:\t";
	char getGPIO_string[2];

	GPIO_DIR[0] = HAL_GPIO_ReadPin(GPIO_1_GPIO_Port, GPIO_1_Pin);
	GPIO_DIR[1] = HAL_GPIO_ReadPin(GPIO_2_GPIO_Port, GPIO_2_Pin);
	GPIO_DIR[2] = HAL_GPIO_ReadPin(GPIO_3_GPIO_Port, GPIO_3_Pin);
	GPIO_DIR[3] = HAL_GPIO_ReadPin(GPIO_4_GPIO_Port, GPIO_4_Pin);
	GPIO_DIR[4] = HAL_GPIO_ReadPin(GPIO_5_GPIO_Port, GPIO_5_Pin);
	GPIO_DIR[5] = HAL_GPIO_ReadPin(GPIO_6_GPIO_Port, GPIO_6_Pin);
	GPIO_DIR[6] = HAL_GPIO_ReadPin(GPIO_7_GPIO_Port, GPIO_7_Pin);
	GPIO_DIR[7] = HAL_GPIO_ReadPin(GPIO_8_GPIO_Port, GPIO_8_Pin);
	GPIO_DIR[8] = HAL_GPIO_ReadPin(GPIO_9_GPIO_Port, GPIO_9_Pin);
	GPIO_DIR[9] = HAL_GPIO_ReadPin(GPIO_10_GPIO_Port, GPIO_10_Pin);
	GPIO_DIR[10] = HAL_GPIO_ReadPin(GPIO_11_GPIO_Port, GPIO_11_Pin);
	GPIO_DIR[11] = HAL_GPIO_ReadPin(GPIO_12_GPIO_Port, GPIO_12_Pin);
	GPIO_DIR[12] = HAL_GPIO_ReadPin(GPIO_13_GPIO_Port, GPIO_13_Pin);
	GPIO_DIR[13] = HAL_GPIO_ReadPin(GPIO_14_GPIO_Port, GPIO_14_Pin);
	GPIO_DIR[14] = HAL_GPIO_ReadPin(GPIO_15_GPIO_Port, GPIO_15_Pin);
	GPIO_DIR[15] = HAL_GPIO_ReadPin(GPIO_16_GPIO_Port, GPIO_16_Pin);
	GPIO_DIR[16] = HAL_GPIO_ReadPin(GPIO_17_GPIO_Port, GPIO_17_Pin);
	GPIO_DIR[17] = HAL_GPIO_ReadPin(GPIO_18_GPIO_Port, GPIO_18_Pin);
	GPIO_DIR[18] = HAL_GPIO_ReadPin(GPIO_19_GPIO_Port, GPIO_19_Pin);
	GPIO_DIR[19] = HAL_GPIO_ReadPin(GPIO_20_GPIO_Port, GPIO_20_Pin);

	for (int n = 0 ; n < MAX_GPIO ; n++) {

		itoa (GPIO_DIR[n],getGPIO_string,10); // Convert from int to char
		strcat(GPIO_INPUT_PRINT,getGPIO_string);
		if (n < MAX_GPIO-1)
			strcat(GPIO_INPUT_PRINT,",");

	}

	//	strcat(GPIO_INPUT_PRINT, ((char)GPIO_DIR[0])-48);

	strcat(GPIO_INPUT_PRINT, "\n");

	if (printValue) {
	write(GPIO_INPUT_PRINT);
	}
}

/**
 * @brief  Print the global State of Each GPIO pin
 *
 *
 *        @note
 *        Print from the global array GPIO_STATE
 *        The printout is in the following format:
 *        	1 - GPIO is in Output state
 *        	2 - GPIO is in Input state
 *        	x - Not Connected
 */
void printGlobalState() {

	char GPIO_STATE_PRINT[70] = "GPIO State (IN / OUT):\t";

	for (int n = 0 ; n < MAX_GPIO ; n++) {

		switch (GPIO_STATE[n])
		{

		case 0: // Input Pin case
			strcat(GPIO_STATE_PRINT,"0");
			break;
		case 1:	// Output pin Case
			strcat(GPIO_STATE_PRINT,"1");
			break;
		case 3:	// Not Connected pin case
			strcat(GPIO_STATE_PRINT,"X");
			break;
		default:	// Error pin case
			strcat(GPIO_STATE_PRINT,"y");

		}
		if (n < MAX_GPIO-1)
			strcat(GPIO_STATE_PRINT,",");

	}

	strcat(GPIO_STATE_PRINT, "\n");
	write(GPIO_STATE_PRINT);

}

/**
 * @brief  Toggle echo printout to user
 * @param  None
 * @retval None
 */
void toggleEcho(int stat) {

	if (stat == 1) {
		ECHO_ENABLE = 1;
	}
	else if (stat == 0 ) {
		ECHO_ENABLE = 0;
	}
}

/**
 * @brief  Update GPIO state array to its initial state
 * @param  None
 * @retval None
 */
void setGPIO_state() {
	for (int n = 0; n < MAX_GPIO; n++ ){
		GPIO_STATE[n] = 1;
	}
}

/**
 * @brief	Update GPIO state array by the given number and state
 * 			No update will happen on icorrect GPIO number.
 * 			State number is not tested
 * @param	gpio - gpio number to be updated
 * @param	state - State to be updated to 0 - In, 1 - Out
 * @retval	None
 */
void updateGIPO_state(int gpio, int state){
	// Test GPIO range and update the currect array location with the desired state
	if (testGPIO(gpio) == 0) {
		GPIO_STATE[gpio-1] = state;
	}
}

/* Check and Update the global array for connected GPIOs
 * The test should be as follows:
 * Set All GPIO's As Input PD and test all up are connected.
 * Set all GPIO's as Input PU and test all down are connected.
 */
void detectConnected() {
	// GPIO_CONNECTED
	// GPIO_STATE[]
	// GPIO_DIR[]

	// Change To Input PD for Isolator detection
	for (int n = 1 ; n <= MAX_GPIO; n++) {
		set_gpio_input(n, IN_PD);
		updateGIPO_state(n,IN);
	}
	// Update the input state and check what is Hight
	updateGlobalDir(1);
	for (int i = 0 ; i < MAX_GPIO; i++) {
		if ( GPIO_DIR[i] == 1) {
			GPIO_CONNECTED[i] = CONNECTED_ISOLATOR;
		}
		else {
			GPIO_CONNECTED[i] = NOT_CONNECTED_STATE;
		}
	}
	// Cahnge to In PU and validate what is down
	// If Not connected before and now Low, probably M connected.
	for (int n = 1 ; n <= MAX_GPIO; n++) {
		set_gpio_input(n, IN_PU);
		updateGIPO_state(n,IN);
	}
	updateGlobalDir(1);
	for (int i = 0 ; i < MAX_GPIO; i++) {
		if (( GPIO_DIR[i] == 0) & (GPIO_CONNECTED[i] == NOT_CONNECTED_STATE)) {
			GPIO_CONNECTED[i] = CONNECTED_MOSFET;
		}
	}

	// Leave connected to Input PD, just in case
	for (int n = 1 ; n <= MAX_GPIO; n++) {
		set_gpio_input(n, IN_PD);
		updateGIPO_state(n,IN);
	}
}

/**
 * @brief	Set GPIO to the received level state
 * @param	int GPIO to be changed
 * @param	int State to be updated to 0 - In, 1 - Out
 * @retval	int Function return code
 */
int setGPIO_level(int gpio_number, int state) {
	int returnCode = 0;

	// Validate GPIO range
	if (testGPIO(gpio_number) == 0) {

		GPIO_InitTypeDef GPIO_InitStruct = {0};

		switch (state) {
		case 0:    											// Input
			GPIO_InitStruct.Mode = GPIO_MODE_INPUT;
			GPIO_InitStruct.Pull = GPIO_NOPULL;
			//			GPIO_InitStruct.Pull = GPIO_PULLDOWN;
			//			write("State INPUT\n");
			updateGIPO_state(gpio_number,0);
			break;
		case 1: 											// Output
			GPIO_InitStruct.Mode = GPIO_MODE_OUTPUT_PP;
			GPIO_InitStruct.Pull = GPIO_PULLUP;
			updateGIPO_state(gpio_number,1);				// Update global array for GPIO state
			break;
		default:
			write("State wrong ERROR_04\n");
			returnCode = ERROR_04;
			return returnCode;
			break;
		}

		GPIO_InitStruct.Speed = GPIO_SPEED_FREQ_LOW;

		//		write("set GPIO input OK\n");
		switch (gpio_number)

		{
		case 1:
			GPIO_InitStruct.Pin = GPIO_1_Pin;
			HAL_GPIO_Init(GPIO_1_GPIO_Port, &GPIO_InitStruct);
			break;
		case 2:
			GPIO_InitStruct.Pin = GPIO_2_Pin;
			HAL_GPIO_Init(GPIO_2_GPIO_Port,  &GPIO_InitStruct);
			break;
		case 3:
			GPIO_InitStruct.Pin = GPIO_3_Pin;
			HAL_GPIO_Init(GPIO_3_GPIO_Port,  &GPIO_InitStruct);
			break;
		case 4:
			GPIO_InitStruct.Pin = GPIO_4_Pin;
			HAL_GPIO_Init(GPIO_4_GPIO_Port,  &GPIO_InitStruct);
			break;
		case 5:
			GPIO_InitStruct.Pin = GPIO_5_Pin;
			HAL_GPIO_Init(GPIO_5_GPIO_Port,  &GPIO_InitStruct);
			break;
		case 6:
			GPIO_InitStruct.Pin = GPIO_6_Pin;
			HAL_GPIO_Init(GPIO_6_GPIO_Port,  &GPIO_InitStruct);
			break;
		case 7:
			GPIO_InitStruct.Pin = GPIO_7_Pin;
			HAL_GPIO_Init(GPIO_7_GPIO_Port,  &GPIO_InitStruct);
			break;
		case 8:
			GPIO_InitStruct.Pin = GPIO_8_Pin;
			HAL_GPIO_Init(GPIO_8_GPIO_Port,  &GPIO_InitStruct);
			break;
		case 9:
			GPIO_InitStruct.Pin = GPIO_9_Pin;
			HAL_GPIO_Init(GPIO_9_GPIO_Port,  &GPIO_InitStruct);
			break;
		case 10:
			GPIO_InitStruct.Pin = GPIO_10_Pin;
			HAL_GPIO_Init(GPIO_10_GPIO_Port,  &GPIO_InitStruct);
			break;
		case 11:
			GPIO_InitStruct.Pin = GPIO_11_Pin;
			HAL_GPIO_Init(GPIO_11_GPIO_Port,  &GPIO_InitStruct);
			break;
		case 12:
			GPIO_InitStruct.Pin = GPIO_12_Pin;
			HAL_GPIO_Init(GPIO_12_GPIO_Port,  &GPIO_InitStruct);
			break;
		case 13:
			GPIO_InitStruct.Pin = GPIO_13_Pin;
			HAL_GPIO_Init(GPIO_13_GPIO_Port,  &GPIO_InitStruct);
			break;
		case 14:
			GPIO_InitStruct.Pin = GPIO_14_Pin;
			HAL_GPIO_Init(GPIO_14_GPIO_Port,  &GPIO_InitStruct);
			break;
		case 15:
			GPIO_InitStruct.Pin = GPIO_15_Pin;
			HAL_GPIO_Init(GPIO_15_GPIO_Port,  &GPIO_InitStruct);
			break;
		case 16:
			GPIO_InitStruct.Pin = GPIO_16_Pin;
			HAL_GPIO_Init(GPIO_16_GPIO_Port,  &GPIO_InitStruct);
			break;
		case 17:
			GPIO_InitStruct.Pin = GPIO_17_Pin;
			HAL_GPIO_Init(GPIO_17_GPIO_Port,  &GPIO_InitStruct);
			break;
		case 18:
			GPIO_InitStruct.Pin = GPIO_18_Pin;
			HAL_GPIO_Init(GPIO_18_GPIO_Port,  &GPIO_InitStruct);
			break;
		case 19:
			GPIO_InitStruct.Pin = GPIO_19_Pin;
			HAL_GPIO_Init(GPIO_19_GPIO_Port,  &GPIO_InitStruct);
			break;
		case 20:
			GPIO_InitStruct.Pin = GPIO_20_Pin;
			HAL_GPIO_Init(GPIO_20_GPIO_Port,  &GPIO_InitStruct);
			break;
		}
	}
	else {
		returnCode = ERROR_03;
		write("Set GPIO Input Number wrong\n ");
	}
	return returnCode;
}

/**
 * @brief  Print the global State of Each GPIO pin
 *
 *
 *        @note
 *        Print from the global array GPIO_STATE
 *        The printout is in the following format:
 *        	1 - GPIO is in Output state
 *        	2 - GPIO is in Input state
 *        	x - Not Connected
 */
void printConnected() {

	write(" ======= Isolation connected to TEL-GPIO ======= \n");
	write("I - Connected Isolation Chip ADM3260ARSZ \n");
	write("M - Connected Isolation that can drive current without Input capability\n");
	write("X - Not connected Isolation\n");
	char GPIO_CONNECTED_PRINT[70] = "GPIO Connected (I,M):\t";

	for (int n = 0 ; n < MAX_GPIO ; n++) {

		switch (GPIO_CONNECTED[n])
		{

		case NOT_CONNECTED_STATE: // Not Connected
			strcat(GPIO_CONNECTED_PRINT,"X");
			break;
		case CONNECTED_ISOLATOR:	// Connected ISOLATOR
			strcat(GPIO_CONNECTED_PRINT,"I");
			break;
		case CONNECTED_MOSFET:	// Connected MOSFET
			strcat(GPIO_CONNECTED_PRINT,"M");
			break;
		default:	// Error pin case
			strcat(GPIO_CONNECTED_PRINT,"E");

		}
		if (n < MAX_GPIO-1)
			strcat(GPIO_CONNECTED_PRINT,",");

	}

	strcat(GPIO_CONNECTED_PRINT, "\n");
	write(GPIO_CONNECTED_PRINT);

}

/**
 * @brief Get error Code and print it value to USB serial Output
 * @param int error_code Error code to print
 * @retval None
 */
void print_error(int error_code) {

	switch (error_code)
	{

	case ERROR_01:
		write("E01\n");
		break;
	case ERROR_02:
		write("E02\n");
		break;
	case ERROR_03:
		write("E03\n");
		break;
	case ERROR_04:
		write("E04\n");
		break;
	case ERROR_05:
		write("E05\n");
		break;
	case ERROR_06:
		write("E06\n");
		break;
	case ERROR_07:
		write("E07\n");
		break;
	case ERROR_08:
		write("E08\n");
		break;
	default:
		write("ERROR_25\n");	// Error code for unknown error code
		break;
		//	case ERROR_09:
		//		write("ERROR_09\n");
		//		break;

	}
}

/**
 * @brief Enables or disable the print on GPIO level change command
 * @param int Enable or disable value for the command
 * @retval None
 */
void set_gpio_change(int change_command) {

//	gpio_previus_level
	/**
	 * switch case for enable or disable the print change function
	 * used switch case in case different command will be needed.
	 */
	switch (change_command)
	{
	case COMMAND_ENABLE_CHANGE:
		// Make the changes only if in disable mode
		// To prevent changes to vorking state setup
		if (gpio_change == 0) {
			gpio_change = 1;
			// Set initial Values to the input values
			for (int n = 0 ; n < MAX_GPIO ; n++) {
				gpio_previus_level[n] = get_gpio_level(n+1);
			}
		}
		break;

	case COMMAND_DISABLE_CHANGE:
		// Make the changes only if in enable mode
		// To prevent changes to working state setup.
		if (gpio_change == 1) {
			gpio_change = 0;
		}
		break;
	}

}

/**
 * Detect change in input value of GPIO and print the change on Serial
 * +# is change from 0 -> 1 and -# is change from 1 -> 0
 */
void detect_gpio_change() {
	// Update global level of GPIO
	updateGlobalDir(0);
	char printString[10] = "";
	char tempvaluechar[5];

	for (int n = 0 ; n < MAX_GPIO ; n++) {
		if (GPIO_DIR[n] != gpio_previus_level[n]) {
			// Convert GPIO to char
			itoa ((n+1),tempvaluechar,10); // Convert from int to char
			// Change 0 -> 1
			if (gpio_previus_level[n] == 0) {
				strcat(printString, "+");
			}
			// change 1 -> 0
			else {
				strcat(printString, "-");

			}
			strcat(printString, tempvaluechar);
			strcat(printString, "\n");
			write(printString);

			gpio_previus_level[n] = GPIO_DIR[n];
		}
	}
}

/**
 * The following function store specifica value to location in memory.
 * And resets the board, on next boot the SystemInit(void) function will check the memory location
 * And jump to DFU memory location if the correct value present
 * startup_stm32f072cbtx.s
 */
void dfu_run_bootloader()
{
//	dfu_jump_to_bootloader(SYSMEM_STM32F072);
	*((unsigned long *)0x20003FF0) = 0xDEADBEEF;
//	dfu_reset_to_bootloader_magic = RESET_TO_BOOTLOADER_MAGIC_CODE;
	NVIC_SystemReset();
}

/************************ (C) COPYRIGHT STMicroelectronics *****END OF FILE****/
